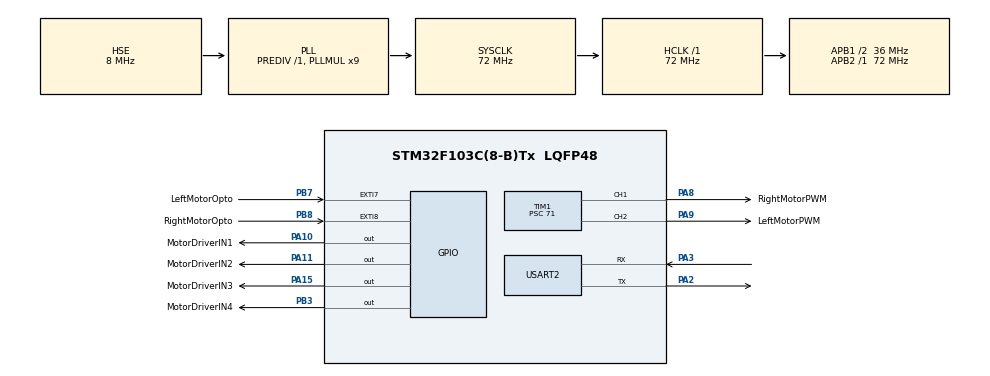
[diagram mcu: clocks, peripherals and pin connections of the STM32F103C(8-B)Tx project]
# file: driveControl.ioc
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Mcu.Family=STM32F1
RCC.PLLSourceVirtual=RCC_PLLSOURCE_HSE
PD1-OSC_OUT.Mode=HSE-External-Oscillator
PA9.GPIO_Label=LeftMotorPWM
USART2.Parity=PARITY_NONE
PA11.GPIO_Label=MotorDriverIN2
NVIC.TIM1_UP_IRQn=true\:0\:0\:false\:false\:true\:true\:true
PD0-OSC_IN.Signal=RCC_OSC_IN
TIM1.Pulse-PWM\ Generation1\ CH1=499
RCC.APB1CLKDivider=RCC_HCLK_DIV2
NVIC.USART2_IRQn=true\:0\:0\:false\:false\:true\:true\:true
RCC.SYSCLKSource=RCC_SYSCLKSOURCE_PLLCLK
ProjectManager.StackSize=0x400
PD1-OSC_OUT.Signal=RCC_OSC_OUT
PA13.Signal=SYS_JTMS-SWDIO
PA3.Mode=Asynchronous
TIM1.AutoReloadPreload=TIM_AUTORELOAD_PRELOAD_DISABLE
PB8.GPIO_Label=RightMotorOpto
PA15.GPIO_Label=MotorDriverIN3
PA8.GPIO_Label=RightMotorPWM
TIM1.Prescaler=71
SH.S_TIM1_CH1.0=TIM1_CH1,PWM Generation1 CH1
ProjectManager.TargetToolchain=STM32CubeIDE
RCC.HCLKFreq_Value=72000000
RCC.APB2TimFreq_Value=72000000
PA9.Signal=S_TIM1_CH2
TIM1.Channel-PWM\ Generation2\ CH2=TIM_CHANNEL_2
RCC.USBFreq_Value=72000000
RCC.AHBFreq_Value=72000000
PD0-OSC_IN.Mode=HSE-External-Oscillator
board=custom
RCC.PLLMUL=RCC_PLL_MUL9
RCC.APB2Freq_Value=72000000
SH.S_TIM1_CH2.0=TIM1_CH2,PWM Generation2 CH2
VP_TIM2_VS_ClockSourceINT.Mode=Internal
TIM1.Channel-PWM\ Generation1\ CH1=TIM_CHANNEL_1
PA14.Mode=Serial_Wire
NVIC.TIM2_IRQn=true\:0\:0\:false\:false\:true\:true\:true
PA10.GPIO_Label=MotorDriverIN1
PB7.Signal=GPXTI7
PA8.Signal=S_TIM1_CH1
TIM2.Period=49999
PA13.Mode=Serial_Wire
Mcu.Name=STM32F103C(8-B)Tx
VP_TIM1_VS_ClockSourceINT.Mode=Internal
PA2.Signal=USART2_TX
PB7.GPIO_Label=LeftMotorOpto
PB3.Signal=GPIO_Output
RCC.SYSCLKFreq_VALUE=72000000
Mcu.Package=LQFP48
TIM2.Prescaler=719
TIM1.Pulse-PWM\ Generation2\ CH2=499
USART2.VirtualMode=VM_ASYNC
PA11.Signal=GPIO_Output
NVIC.EXTI9_5_IRQn=true\:0\:0\:false\:false\:true\:true\:true
PA10.Signal=GPIO_Output
PA14.Signal=SYS_JTCK-SWCLK
PA15.Signal=GPIO_Output
ProjectManager.HeapSize=0x200
NVIC.PriorityGroup=NVIC_PRIORITYGROUP_4
RCC.APB1TimFreq_Value=72000000
PB8.Signal=GPXTI8
PA2.Mode=Asynchronous
TIM1.Period=999
RCC.APB1Freq_Value=36000000
PA3.Signal=USART2_RX
PB3.GPIO_Label=MotorDriverIN4

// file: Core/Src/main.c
/* USER CODE BEGIN Header */
/**
  ******************************************************************************
  * @file           : main.c
  * @brief          : Main program body
  ******************************************************************************
  * @attention
  *
  * <h2><center>&copy; Copyright (c) 2021 STMicroelectronics.
  * All rights reserved.</center></h2>
  *
  * This software component is licensed by ST under BSD 3-Clause license,
  * the "License"; You may not use this file except in compliance with the
  * License. You may obtain a copy of the License at:
  *                        opensource.org/licenses/BSD-3-Clause
  *
  ******************************************************************************
  */
/* USER CODE END Header */
#include "main.h"

/* USER CODE BEGIN Includes */
#include <string.h>
#include <stdlib.h>
#include <stdio.h>
/* USER CODE END Includes */

/* USER CODE BEGIN PD */
#define NGAPS 20
#define Ts 0.1

#define NSAMPLES 5
/* USER CODE END PD */

TIM_HandleTypeDef htim1;
TIM_HandleTypeDef htim2;

UART_HandleTypeDef huart2;

/* USER CODE BEGIN PV */

uint8_t RxBuffer[18] = {0};
char TxBuffer[20];

volatile float leftMotorControlValue = 0;
volatile float rightMotorControlValue = 0;

volatile float leftMotorValue = 0;
volatile float rightMotorValue = 0;

volatile int leftMotorDirection = 0;
volatile int rightMotorDirection = 0;

char *tempJoystickVal;
char *tempStrToFloat;

volatile int nGapsLeft = 0;
volatile int nGapsRight = 0;

volatile int timeCount;

/* Generating PRBS */
volatile float speedLeft = 0;
volatile float speedRight = 0;
volatile float speedPerSecLeft = 0;
volatile float speedPerSecRight = 0;

int leftSamples[NSAMPLES] = {0};
int rightSamples[NSAMPLES] = {0};

volatile int randPWM = 0;	//Determine value of current period of PRBS
volatile uint16_t randT = 0;	//Determine length of current period of PRBS
const int upperLimitRandT = 14;
const int lowerLimitRandT = 10;
volatile int timeCount = 0;			//Counts sample times for PRBS
volatile int up = 1;

volatile int noMsLeft = 0;
volatile int noMsRight = 0;

int n = 0;
volatile int i = 0;
volatile int j = 0;

/*Controlling motors on joystick input*/
/* USER CODE END PV */

void SystemClock_Config(void);
static void MX_GPIO_Init(void);
static void MX_TIM1_Init(void);
static void MX_USART2_UART_Init(void);
static void MX_TIM2_Init(void);

/* USER CODE BEGIN 0 */
void prbs(){
	//Set Workpoint Value at 50% PWM -- PRBS to +/- 50% PWM
	setLeftMotorDirection(FORWARD);
	setRightMotorDirection(FORWARD);
	if(timeCount == randT){
		timeCount = 0;
		randT = (uint16_t)((rand() % (upperLimitRandT - lowerLimitRandT + 1)) + lowerLimitRandT);
		if(up){
			randPWM = 100;
			setLeftMotorPWM(randPWM);
			setRightMotorPWM(randPWM);
			up = 0;
		}else{
			randPWM = 0;
			setLeftMotorPWM(randPWM);
			setRightMotorPWM(randPWM);
			up = 1;
		}

	}
	sprintf(TxBuffer,"%d,%d,%d,%d\r\t", (int)(speedPerSecLeft*100), (int)getLeftMotorPWM(), (int)(speedPerSecRight*100), (int)getRightMotorPWM());
	if(HAL_UART_Transmit(&huart2, (uint8_t *)TxBuffer, 20, 100)!=HAL_OK)
		Error_Handler();
	/*Necessary because HAL library leaves bytes in buffer ; i.e. bytes are sent out
	 * multiple times if buffers are not the exact same size!
	 */
	for(n = 0; n < 20; n++){
			TxBuffer[n] = 0;
	}
}

/* USER CODE END 0 */

int main(void)
{

  /* MCU Configuration--------------------------------------------------------*/

  /* Reset of all peripherals, Initializes the Flash interface and the Systick. */
  HAL_Init();

  /* Configure the system clock */
  SystemClock_Config();

  /* Initialize all configured peripherals */
  MX_GPIO_Init();
  MX_TIM1_Init();
  MX_USART2_UART_Init();
  MX_TIM2_Init();
  /* USER CODE BEGIN 2 */
	HAL_TIM_Base_Start_IT(&htim2);
	HAL_TIM_Base_Start_IT(&htim1);

	HAL_TIM_PWM_Start(&htim1, TIM_CHANNEL_1); // Right Motor PWM Control
	HAL_TIM_PWM_Start(&htim1, TIM_CHANNEL_2); // Left Motor PWM Control

	/* USER CODE END 2 */

  /* Infinite loop */
  /* USER CODE BEGIN WHILE */
	while (1)
	{
		HAL_UART_Receive_IT(&huart2, RxBuffer, sizeof(RxBuffer));
    /* USER CODE END WHILE */

	}
}

void HAL_UART_RxCpltCallback(UART_HandleTypeDef *huart){
	//sprintf(TxBuffer,"%s\n", RxBuffer);
	//
	//HAL_UART_Transmit(&huart2, (uint8_t* )RxBuffer, sizeof(RxBuffer), 1000);

	tempJoystickVal = (char *)RxBuffer;
	tempStrToFloat = strtok(tempJoystickVal, ",");
	leftMotorValue = atof(tempStrToFloat);
	tempStrToFloat = strtok(NULL, ",");
	rightMotorValue = atof(tempStrToFloat);
	tempStrToFloat = strtok(NULL, ",");
	leftMotorDirection = atoi(tempStrToFloat);
	tempStrToFloat = strtok(NULL, ",");
	rightMotorDirection = atoi(tempStrToFloat);
}

void HAL_TIM_PeriodElapsedCallback(TIM_HandleTypeDef *htim){
	/* Every Ts interrupt */
	//int avgMs = 0;
	//int pwmToSet = 0;

	if(htim == &htim2){
		/* Uncomment for PRBS and regulator synthesis

		timeCount++;

		for(int i = 0; i < NSAMPLES; i++){
			avgMs += rightSamples[i];
		}
		avgMs = avgMs / NSAMPLES;

		speedRight = (float)avgMs * (float)NGAPS / 1000.00; //seconds per revolution
		speedPerSecRight = 1.00 / speedRight; //revolutions per second

		for(int i = 0; i < NSAMPLES; i++){
			avgMs += leftSamples[i];
		}
		avgMs = avgMs / NSAMPLES;

		speedLeft = (float)avgMs * (float)NGAPS / 1000.00; //seconds per revolution
		speedPerSecLeft = 1.00 / speedLeft; //revolutions per second

		prbs();
		continue;

		*/

		setLeftMotorDirection(leftMotorDirection);
		setRightMotorDirection(rightMotorDirection);

		setLeftMotorPWM(leftMotorValue * 100);
		setRightMotorPWM(rightMotorValue * 100);

	}
	if(htim == &htim1){

		noMsLeft++;
		noMsRight++;
	}
}

void HAL_GPIO_EXTI_Callback(uint16_t GPIO_Pin){
	if(GPIO_Pin == RightMotorOpto_Pin){
		nGapsRight++;

		if(i >= NSAMPLES) i = 0;
		rightSamples[i] = noMsRight;

		noMsRight = 0;
		i++;
	}

	if(GPIO_Pin == LeftMotorOpto_Pin){
		nGapsLeft++;

		if(j >= NSAMPLES) j = 0;
		rightSamples[j] = noMsLeft;

		noMsLeft = 0;
		j++;
	}
}

void SystemClock_Config(void)
{
  RCC_OscInitTypeDef RCC_OscInitStruct = {0};
  RCC_ClkInitTypeDef RCC_ClkInitStruct = {0};

  /** Initializes the RCC Oscillators according to the specified parameters
  * in the RCC_OscInitTypeDef structure.
  */
  RCC_OscInitStruct.OscillatorType = RCC_OSCILLATORTYPE_HSE;
  RCC_OscInitStruct.HSEState = RCC_HSE_ON;
  RCC_OscInitStruct.HSEPredivValue = RCC_HSE_PREDIV_DIV1;
  RCC_OscInitStruct.HSIState = RCC_HSI_ON;
  RCC_OscInitStruct.PLL.PLLState = RCC_PLL_ON;
  RCC_OscInitStruct.PLL.PLLSource = RCC_PLLSOURCE_HSE;
  RCC_OscInitStruct.PLL.PLLMUL = RCC_PLL_MUL9;
  if (HAL_RCC_OscConfig(&RCC_OscInitStruct) != HAL_OK)
  {
    Error_Handler();
  }
  /** Initializes the CPU, AHB and APB buses clocks
  */
  RCC_ClkInitStruct.ClockType = RCC_CLOCKTYPE_HCLK|RCC_CLOCKTYPE_SYSCLK
                              |RCC_CLOCKTYPE_PCLK1|RCC_CLOCKTYPE_PCLK2;
  RCC_ClkInitStruct.SYSCLKSource = RCC_SYSCLKSOURCE_PLLCLK;
  RCC_ClkInitStruct.AHBCLKDivider = RCC_SYSCLK_DIV1;
  RCC_ClkInitStruct.APB1CLKDivider = RCC_HCLK_DIV2;
  RCC_ClkInitStruct.APB2CLKDivider = RCC_HCLK_DIV1;

  if (HAL_RCC_ClockConfig(&RCC_ClkInitStruct, FLASH_LATENCY_2) != HAL_OK)
  {
    Error_Handler();
  }
}

static void MX_TIM1_Init(void)
{

  TIM_ClockConfigTypeDef sClockSourceConfig = {0};
  TIM_MasterConfigTypeDef sMasterConfig = {0};
  TIM_OC_InitTypeDef sConfigOC = {0};
  TIM_BreakDeadTimeConfigTypeDef sBreakDeadTimeConfig = {0};

  htim1.Instance = TIM1;
  htim1.Init.Prescaler = 71;
  htim1.Init.CounterMode = TIM_COUNTERMODE_UP;
  htim1.Init.Period = 999;
  htim1.Init.ClockDivision = TIM_CLOCKDIVISION_DIV1;
  htim1.Init.RepetitionCounter = 0;
  htim1.Init.AutoReloadPreload = TIM_AUTORELOAD_PRELOAD_DISABLE;
  if (HAL_TIM_Base_Init(&htim1) != HAL_OK)
  {
    Error_Handler();
  }
  sClockSourceConfig.ClockSource = TIM_CLOCKSOURCE_INTERNAL;
  if (HAL_TIM_ConfigClockSource(&htim1, &sClockSourceConfig) != HAL_OK)
  {
    Error_Handler();
  }
  if (HAL_TIM_PWM_Init(&htim1) != HAL_OK)
  {
    Error_Handler();
  }
  sMasterConfig.MasterOutputTrigger = TIM_TRGO_RESET;
  sMasterConfig.MasterSlaveMode = TIM_MASTERSLAVEMODE_DISABLE;
  if (HAL_TIMEx_MasterConfigSynchronization(&htim1, &sMasterConfig) != HAL_OK)
  {
    Error_Handler();
  }
  sConfigOC.OCMode = TIM_OCMODE_PWM1;
  sConfigOC.Pulse = 499;
  sConfigOC.OCPolarity = TIM_OCPOLARITY_HIGH;
  sConfigOC.OCNPolarity = TIM_OCNPOLARITY_HIGH;
  sConfigOC.OCFastMode = TIM_OCFAST_DISABLE;
  sConfigOC.OCIdleState = TIM_OCIDLESTATE_RESET;
  sConfigOC.OCNIdleState = TIM_OCNIDLESTATE_RESET;
  if (HAL_TIM_PWM_ConfigChannel(&htim1, &sConfigOC, TIM_CHANNEL_1) != HAL_OK)
  {
    Error_Handler();
  }
  if (HAL_TIM_PWM_ConfigChannel(&htim1, &sConfigOC, TIM_CHANNEL_2) != HAL_OK)
  {
    Error_Handler();
  }
  sBreakDeadTimeConfig.OffStateRunMode = TIM_OSSR_DISABLE;
  sBreakDeadTimeConfig.OffStateIDLEMode = TIM_OSSI_DISABLE;
  sBreakDeadTimeConfig.LockLevel = TIM_LOCKLEVEL_OFF;
  sBreakDeadTimeConfig.DeadTime = 0;
  sBreakDeadTimeConfig.BreakState = TIM_BREAK_DISABLE;
  sBreakDeadTimeConfig.BreakPolarity = TIM_BREAKPOLARITY_HIGH;
  sBreakDeadTimeConfig.AutomaticOutput = TIM_AUTOMATICOUTPUT_DISABLE;
  if (HAL_TIMEx_ConfigBreakDeadTime(&htim1, &sBreakDeadTimeConfig) != HAL_OK)
  {
    Error_Handler();
  }
  HAL_TIM_MspPostInit(&htim1);

}

static void MX_TIM2_Init(void)
{

  TIM_ClockConfigTypeDef sClockSourceConfig = {0};
  TIM_MasterConfigTypeDef sMasterConfig = {0};

  htim2.Instance = TIM2;
  htim2.Init.Prescaler = 719;
  htim2.Init.CounterMode = TIM_COUNTERMODE_UP;
  htim2.Init.Period = 4999; // 0.05 SECOND TS --------------------- //
  htim2.Init.ClockDivision = TIM_CLOCKDIVISION_DIV1;
  htim2.Init.AutoReloadPreload = TIM_AUTORELOAD_PRELOAD_DISABLE;
  if (HAL_TIM_Base_Init(&htim2) != HAL_OK)
  {
    Error_Handler();
  }
  sClockSourceConfig.ClockSource = TIM_CLOCKSOURCE_INTERNAL;
  if (HAL_TIM_ConfigClockSource(&htim2, &sClockSourceConfig) != HAL_OK)
  {
    Error_Handler();
  }
  sMasterConfig.MasterOutputTrigger = TIM_TRGO_RESET;
  sMasterConfig.MasterSlaveMode = TIM_MASTERSLAVEMODE_DISABLE;
  if (HAL_TIMEx_MasterConfigSynchronization(&htim2, &sMasterConfig) != HAL_OK)
  {
    Error_Handler();
  }

}

static void MX_USART2_UART_Init(void)
{

  huart2.Instance = USART2;
  huart2.Init.BaudRate = 115200;
  huart2.Init.WordLength = UART_WORDLENGTH_8B;
  huart2.Init.StopBits = UART_STOPBITS_1;
  huart2.Init.Parity = UART_PARITY_NONE;
  huart2.Init.Mode = UART_MODE_TX_RX;
  huart2.Init.HwFlowCtl = UART_HWCONTROL_NONE;
  huart2.Init.OverSampling = UART_OVERSAMPLING_16;
  if (HAL_UART_Init(&huart2) != HAL_OK)
  {
    Error_Handler();
  }

}

static void MX_GPIO_Init(void)
{
  GPIO_InitTypeDef GPIO_InitStruct = {0};

  /* GPIO Ports Clock Enable */
  __HAL_RCC_GPIOD_CLK_ENABLE();
  __HAL_RCC_GPIOA_CLK_ENABLE();
  __HAL_RCC_GPIOB_CLK_ENABLE();

  /*Configure GPIO pin Output Level */
  HAL_GPIO_WritePin(GPIOA, MotorDriverIN1_Pin|MotorDriverIN2_Pin|MotorDriverIN3_Pin, GPIO_PIN_RESET);

  /*Configure GPIO pin Output Level */
  HAL_GPIO_WritePin(MotorDriverIN4_GPIO_Port, MotorDriverIN4_Pin, GPIO_PIN_RESET);

  /*Configure GPIO pins : MotorDriverIN1_Pin MotorDriverIN2_Pin MotorDriverIN3_Pin */
  GPIO_InitStruct.Pin = MotorDriverIN1_Pin|MotorDriverIN2_Pin|MotorDriverIN3_Pin;
  GPIO_InitStruct.Mode = GPIO_MODE_OUTPUT_PP;
  GPIO_InitStruct.Pull = GPIO_NOPULL;
  GPIO_InitStruct.Speed = GPIO_SPEED_FREQ_LOW;
  HAL_GPIO_Init(GPIOA, &GPIO_InitStruct);

  /*Configure GPIO pin : MotorDriverIN4_Pin */
  GPIO_InitStruct.Pin = MotorDriverIN4_Pin;
  GPIO_InitStruct.Mode = GPIO_MODE_OUTPUT_PP;
  GPIO_InitStruct.Pull = GPIO_NOPULL;
  GPIO_InitStruct.Speed = GPIO_SPEED_FREQ_LOW;
  HAL_GPIO_Init(MotorDriverIN4_GPIO_Port, &GPIO_InitStruct);

  /*Configure GPIO pins : LeftMotorOpto_Pin RightMotorOpto_Pin */
  GPIO_InitStruct.Pin = LeftMotorOpto_Pin|RightMotorOpto_Pin;
  GPIO_InitStruct.Mode = GPIO_MODE_IT_RISING;
  GPIO_InitStruct.Pull = GPIO_NOPULL;
  HAL_GPIO_Init(GPIOB, &GPIO_InitStruct);

  /* EXTI interrupt init*/
  HAL_NVIC_SetPriority(EXTI9_5_IRQn, 0, 0);
  HAL_NVIC_EnableIRQ(EXTI9_5_IRQn);

}

void Error_Handler(void)
{
  __disable_irq();
  while (1)
  {
  }
}

/************************ (C) COPYRIGHT STMicroelectronics *****END OF FILE****/
